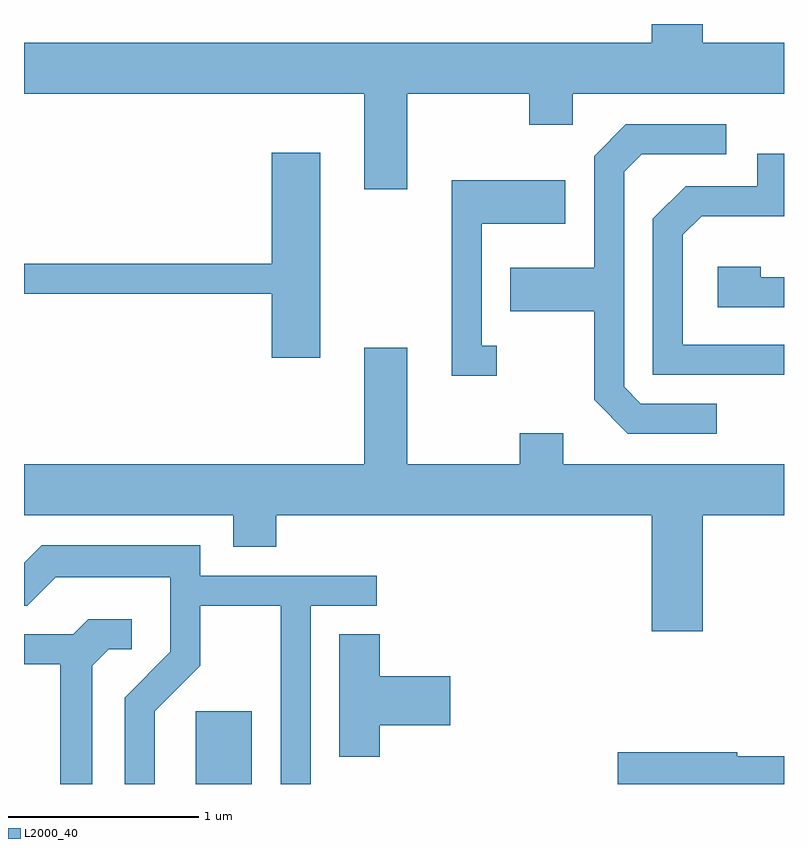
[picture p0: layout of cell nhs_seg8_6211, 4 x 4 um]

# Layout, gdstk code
import gdstk
lib = gdstk.Library(unit=1e-6, precision=1e-09)
def R(c, l, rs):  # rectangles x0, y0, x1, y1
    for r in rs: c.add(gdstk.rectangle(r[:2], r[2:], *l))
def P(c, l, *ps):  # polygons
    for p in ps: c.add(gdstk.Polygon(p, *l))
L2000_40 = (2000, 40)

nhs_seg8_6211 = lib.new_cell('nhs_seg8_6211')
R(nhs_seg8_6211, L2000_40, [(372.516,1828.342,372.809,1828.724)])
P(nhs_seg8_6211, L2000_40, [(373.629,1831.976),(374.271,1831.976),(374.271,1831.811),(374.499,1831.811),(374.499,1831.976),(375.611,1831.976),(375.611,1832.244),(375.184,1832.244),(375.184,1832.342),(374.916,1832.342),(374.916,1832.244),(371.611,1832.244),(371.611,1831.976),(373.401,1831.976),(373.401,1831.471),(373.629,1831.471)],
  [(375.258,1830.344),(374.857,1830.344),(374.769,1830.432),(374.769,1831.564),(374.862,1831.656),(375.308,1831.656),(375.308,1831.814),(374.779,1831.814),(374.611,1831.647),(374.611,1831.059),(374.171,1831.059),(374.171,1830.831),(374.611,1830.831),(374.611,1830.364),(374.789,1830.186),(375.258,1830.186)],
  [(373.169,1831.664),(372.916,1831.664),(372.916,1831.079),(371.611,1831.079),(371.611,1830.921),(372.916,1830.921),(372.916,1830.586),(373.169,1830.586)],
  [(375.611,1830.654),(375.079,1830.654),(375.079,1831.234),(375.177,1831.331),(375.611,1831.331),(375.611,1831.659),(375.471,1831.659),(375.471,1831.489),(375.094,1831.489),(374.921,1831.317),(374.921,1830.496),(375.611,1830.496)],
  [(374.098,1830.649),(374.019,1830.649),(374.019,1831.291),(374.459,1831.291),(374.459,1831.519),(373.861,1831.519),(373.861,1830.491),(374.098,1830.491)],
  [(375.611,1831.009),(375.489,1831.009),(375.489,1831.064),(375.261,1831.064),(375.261,1830.851),(375.611,1830.851)],
  [(375.184,1829.756),(375.611,1829.756),(375.611,1830.024),(374.449,1830.024),(374.449,1830.189),(374.221,1830.189),(374.221,1830.024),(373.629,1830.024),(373.629,1830.639),(373.401,1830.639),(373.401,1830.024),(371.611,1830.024),(371.611,1829.756),(372.711,1829.756),(372.711,1829.591),(372.939,1829.591),(372.939,1829.756),(374.916,1829.756),(374.916,1829.146),(375.184,1829.146)],
  [(372.299,1828.724),(372.539,1828.964),(372.539,1829.281),(372.961,1829.281),(372.961,1828.342),(373.119,1828.342),(373.119,1829.281),(373.468,1829.281),(373.468,1829.439),(372.539,1829.439),(372.539,1829.599),(371.704,1829.599),(371.611,1829.506),(371.611,1829.281),(371.627,1829.281),(371.777,1829.431),(372.381,1829.431),(372.381,1829.037),(372.141,1828.797),(372.141,1828.342),(372.299,1828.342)],
  [(371.969,1828.964),(372.057,1829.051),(372.178,1829.051),(372.178,1829.209),(371.949,1829.209),(371.869,1829.129),(371.611,1829.129),(371.611,1828.971),(371.801,1828.971),(371.801,1828.342),(371.969,1828.342)],
  [(373.484,1828.651),(373.854,1828.651),(373.854,1828.909),(373.484,1828.909),(373.484,1829.129),(373.271,1829.129),(373.271,1828.486),(373.484,1828.486)],
  [(375.611,1828.489),(375.364,1828.489),(375.364,1828.509),(374.736,1828.509),(374.736,1828.342),(375.611,1828.342)])

lib.write_gds('nhs_seg8_6211.gds')
